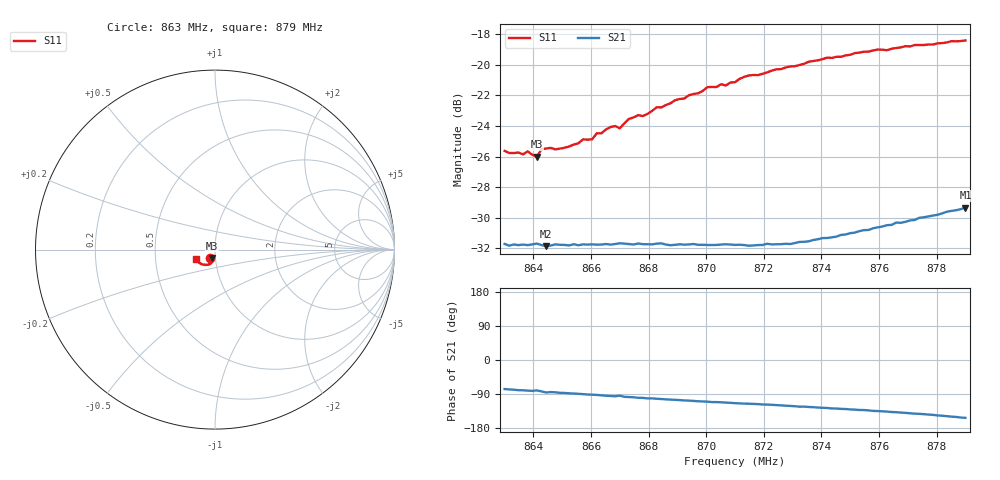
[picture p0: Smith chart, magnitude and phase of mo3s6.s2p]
# HZ S RI R 50
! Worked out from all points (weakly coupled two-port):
!   101 points, 863 MHz to 879 MHz, reference 50 ohm
!   highest |S21| = -29.33 dB at 879 MHz (marker M1); lowest = -31.9 dB at 864.44 MHz (marker M2)
!   lowest |S11| = -26.0 dB at 864.12 MHz (marker M3), VSWR 1.11, Z = 48.1 - j4.54 ohm
!   |S11| at or under -10 dB: start of sweep to end of sweep
!   S12 and S22 are empty: the file has one direction only
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8.63e8  -0.0273 -0.0447  0.00599 -0.0252  0 0  0 0
8.6364e8  -0.023 -0.0455  0.00453 -0.0254  0 0  0 0
8.638e8  -0.0235 -0.0465  0.00411 -0.0254  0 0  0 0
8.6412e8  -0.017 -0.0471  0.00445 -0.0256  0 0  0 0
8.6428e8  -0.0194 -0.0493  0.00322 -0.0255  0 0  0 0
8.6444e8  -0.0203 -0.0492  0.00189 -0.0254  0 0  0 0
8.6508e8  -0.0159 -0.0512  0.00136 -0.0257  0 0  0 0
8.6572e8  -0.0149 -0.0551  -3.8e-05 -0.0259  0 0  0 0
8.6604e8  -0.0135 -0.0555  -0.000704 -0.0259  0 0  0 0
8.662e8  -0.0158 -0.0576  -0.000961 -0.0258  0 0  0 0
8.6636e8  -0.0146 -0.0579  -0.00146 -0.0258  0 0  0 0
8.6668e8  -0.0157 -0.0606  -0.00225 -0.0257  0 0  0 0
8.67e8  -0.0204 -0.0585  -0.00183 -0.026  0 0  0 0
8.6732e8  -0.0165 -0.0645  -0.0035 -0.0257  0 0  0 0
8.678e8  -0.0157 -0.0662  -0.0045 -0.0255  0 0  0 0
8.6844e8  -0.0191 -0.07  -0.00587 -0.0254  0 0  0 0
8.7004e8  -0.0279 -0.0799  -0.00875 -0.0242  0 0  0 0
8.71e8  -0.033 -0.0813  -0.0104 -0.0235  0 0  0 0
8.7148e8  -0.0379 -0.0842  -0.0109 -0.0231  0 0  0 0
8.7372e8  -0.0568 -0.0859  -0.0152 -0.022  0 0  0 0
8.7644e8  -0.0846 -0.0748  -0.022 -0.0203  0 0  0 0
8.79e8  -0.1074 -0.0541  -0.0303 -0.0157  0 0  0 0
